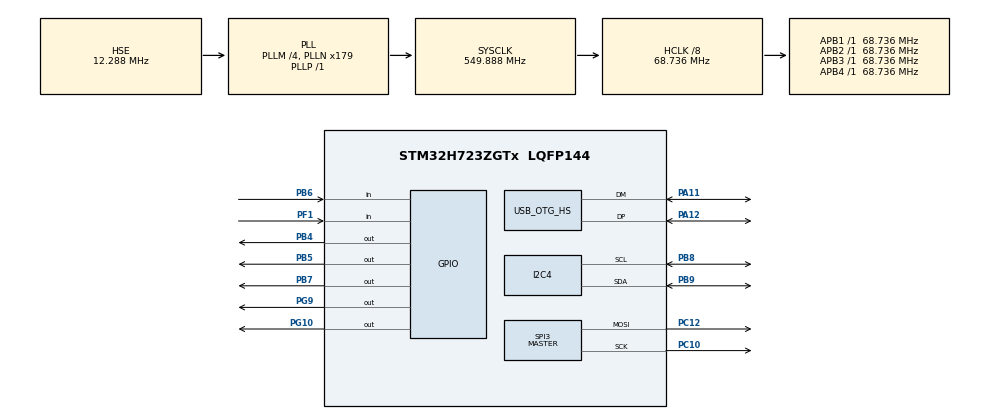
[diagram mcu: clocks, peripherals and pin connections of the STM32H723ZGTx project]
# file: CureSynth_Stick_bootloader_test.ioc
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CORTEX_M7.CPU_DCache=Enabled
CORTEX_M7.CPU_ICache=Enabled
Dma.Request0=SPI3_TX
Dma.SPI3_TX.0.Direction=DMA_MEMORY_TO_PERIPH
Dma.SPI3_TX.0.EventEnable=DISABLE
Dma.SPI3_TX.0.FIFOMode=DMA_FIFOMODE_ENABLE
Dma.SPI3_TX.0.FIFOThreshold=DMA_FIFO_THRESHOLD_FULL
Dma.SPI3_TX.0.Instance=DMA1_Stream5
Dma.SPI3_TX.0.MemBurst=DMA_MBURST_SINGLE
Dma.SPI3_TX.0.MemDataAlignment=DMA_MDATAALIGN_HALFWORD
Dma.SPI3_TX.0.MemInc=DMA_MINC_ENABLE
Dma.SPI3_TX.0.Mode=DMA_NORMAL
Dma.SPI3_TX.0.PeriphBurst=DMA_PBURST_SINGLE
Dma.SPI3_TX.0.PeriphDataAlignment=DMA_PDATAALIGN_HALFWORD
Dma.SPI3_TX.0.PeriphInc=DMA_PINC_DISABLE
Dma.SPI3_TX.0.Polarity=HAL_DMAMUX_REQ_GEN_RISING
Dma.SPI3_TX.0.Priority=DMA_PRIORITY_LOW
Dma.SPI3_TX.0.RequestNumber=1
Dma.SPI3_TX.0.SignalID=NONE
Dma.SPI3_TX.0.SyncEnable=DISABLE
Dma.SPI3_TX.0.SyncPolarity=HAL_DMAMUX_SYNC_NO_EVENT
Dma.SPI3_TX.0.SyncRequestNumber=1
Dma.SPI3_TX.0.SyncSignalID=NONE
I2C4.Speed=80
I2C4.Timing=0x1080A7FF
Mcu.Family=STM32H7
Mcu.Name=STM32H723ZGTx
Mcu.Package=LQFP144
NVIC.DMA1_Stream5_IRQn=true\:0\:1\:false\:false\:true\:false\:true\:true
NVIC.OTG_HS_IRQn=true\:0\:0\:false\:false\:true\:false\:true\:true
NVIC.PriorityGroup=NVIC_PRIORITYGROUP_2
NVIC.SPI3_IRQn=true\:0\:0\:false\:false\:true\:true\:true\:true
NVIC.TIM6_DAC_IRQn=true\:0\:0\:false\:false\:true\:true\:true\:true
NVIC.TIM7_IRQn=true\:0\:0\:false\:false\:true\:true\:true\:true
PA11.Mode=Device_Only_FS
PA11.Signal=USB_OTG_HS_DM
PA12.Mode=Device_Only_FS
PA12.Signal=USB_OTG_HS_DP
PA13(JTMS/SWDIO).Mode=Trace_Asynchronous_SW
PA13(JTMS/SWDIO).Signal=DEBUG_JTMS-SWDIO
PA14(JTCK/SWCLK).Mode=Trace_Asynchronous_SW
PA14(JTCK/SWCLK).Signal=DEBUG_JTCK-SWCLK
PA2.Signal=ADCx_INP14
PB3(JTDO/TRACESWO).Mode=Trace_Asynchronous_SW
PB3(JTDO/TRACESWO).Signal=DEBUG_JTDO-SWO
PB4(NJTRST).GPIO_PuPd=GPIO_PULLDOWN
PB4(NJTRST).Signal=GPIO_Output
PB5.Signal=GPIO_Output
PB6.Signal=GPIO_Input
PB7.Signal=GPIO_Output
PB8.GPIO_Pu=GPIO_PULLUP
PB8.GPIO_PuPd=GPIO_PULLUP
PB8.GPIO_Speed=GPIO_SPEED_FREQ_MEDIUM
PB8.Mode=I2C
PB8.Signal=I2C4_SCL
PB9.GPIO_Pu=GPIO_PULLUP
PB9.GPIO_PuPd=GPIO_PULLUP
PB9.GPIO_Speed=GPIO_SPEED_FREQ_MEDIUM
PB9.Mode=I2C
PB9.Signal=I2C4_SDA
PC10.GPIO_PuPd=GPIO_PULLDOWN
PC10.GPIO_Speed=GPIO_SPEED_FREQ_VERY_HIGH
PC10.Mode=TX_Only_Simplex_Unidirect_Master
PC10.Signal=SPI3_SCK
PC12.GPIO_PuPd=GPIO_PULLDOWN
PC12.GPIO_Speed=GPIO_SPEED_FREQ_VERY_HIGH
PC12.Mode=TX_Only_Simplex_Unidirect_Master
PC12.Signal=SPI3_MOSI
PF1.Signal=GPIO_Input
PF14.Signal=ADC2_INP6
PG10.Signal=GPIO_Output
PG11.Signal=USART10_RX
PG12.Signal=USART10_TX
PG9.Signal=GPIO_Output
PH0-OSC_IN.Mode=HSE-External-Clock-Source
PH0-OSC_IN.Signal=RCC_OSC_IN
ProjectManager.HeapSize=0x800
ProjectManager.StackSize=0x800
ProjectManager.TargetToolchain=STM32CubeIDE
RCC.ADCFreq_Value=49152000
RCC.APB1Freq_Value=68736000
RCC.APB2Freq_Value=68736000
RCC.APB3Freq_Value=68736000
RCC.APB4Freq_Value=68736000
RCC.CortexFreq_Value=274944000
RCC.D1CPRE=RCC_SYSCLK_DIV2
RCC.DIVM1=4
RCC.DIVM2=8
RCC.DIVM3=4
RCC.DIVN1=179
RCC.DIVN2=128
RCC.DIVN3=125
RCC.DIVP1=1
RCC.DIVP2=4
RCC.DIVQ1=7
RCC.DIVQ3=8
RCC.HCLKFreq_Value=68736000
RCC.HPRE=RCC_HCLK_DIV4
RCC.HSE_VALUE=12288000
RCC.PLLFRACN=0
RCC.PLLSourceVirtual=RCC_PLLSOURCE_HSE
RCC.RNGCLockSelection=RCC_RNGCLKSOURCE_PLL
RCC.SAI1CLockSelection=RCC_SAI1CLKSOURCE_PLL2
RCC.SYSCLKFreq_VALUE=549888000
RCC.SYSCLKSource=RCC_SYSCLKSOURCE_PLLCLK
RCC.USART16CLockSelection=RCC_USART16910CLKSOURCE_PLL3
RCC.USBCLockSelection=RCC_USBCLKSOURCE_PLL3
RCC.USBFreq_Value=48000000
RCC.VDD_VALUE=1.8
SH.ADCx_INP14.0=ADC1_INP14
SPI3.BaudRatePrescaler=SPI_BAUDRATEPRESCALER_2
SPI3.CalculateBaudRate=39.277714 MBits/s
SPI3.DataSize=SPI_DATASIZE_16BIT
SPI3.Direction=SPI_DIRECTION_2LINES_TXONLY
SPI3.Mode=SPI_MODE_MASTER
SPI3.VirtualType=VM_MASTER
TIM6.Period=12424
TIM6.Prescaler=511
TIM7.Period=15
TIM7.Prescaler=178
USB_DEVICE.CLASS_NAME_HS=DFU
USB_DEVICE.MANUFACTURER_STRING=curesynth.net
USB_DEVICE.PID_DFU_HS=0x42eb
USB_DEVICE.PRODUCT_STRING_DFU_HS=CureSynth Firmware Update Mode
USB_DEVICE.USBD_DFU_APP_DEFAULT_ADD=0x08020000
USB_DEVICE.USBD_DFU_MEDIA=@Internal Flash   /0x08000000/01*0128Ka,01*0128Kg,01*0128Kg,01*0128Kg,01*0128Kg,01*0128Kg,01*0128Kg,01*0128Kg
USB_DEVICE.USBD_DFU_XFER_SIZE=4096
USB_DEVICE.VID=0x20a0
USB_DEVICE.VirtualMode=Dfu
USB_DEVICE.VirtualModeHS=Dfu_HS
USB_OTG_HS.Sof_enable-Device_Only_FS=DISABLE
USB_OTG_HS.VirtualMode-Device_Only_FS=Device_Only_FS
VP_TIM6_VS_ClockSourceINT.Mode=Enable_Timer
VP_TIM7_VS_ClockSourceINT.Mode=Enable_Timer
VP_USB_DEVICE_VS_USB_DEVICE_DFU_HS.Mode=DFU_HS
board=custom

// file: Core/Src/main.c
/* USER CODE BEGIN Header */
/**
  ******************************************************************************
  * @file           : main.c
  * @brief          : Main program body
  ******************************************************************************
  * @attention
  *
  * <h2><center>&copy; Copyright (c) 2022 STMicroelectronics.
  * All rights reserved.</center></h2>
  *
  * This software component is licensed by ST under Ultimate Liberty license
  * SLA0044, the "License"; You may not use this file except in compliance with
  * the License. You may obtain a copy of the License at:
  *                             www.st.com/SLA0044
  *
  ******************************************************************************
  */
/* USER CODE END Header */
#include "main.h"

/* USER CODE BEGIN Includes */
#include "usb_device.h"
#include <stdbool.h>
#include <stdint.h>
#include <stdio.h>
#include <string.h>

#include "usbd_dfu_if.h"

//display
#include "st7735s_SPI.h"
#include "ugui.h"
#include "img.h"

//audio
#include "wm8960.h"

/* USER CODE END Includes */

/* USER CODE BEGIN PD */
#define FW_APP_ADDR (0x08020400)
#define FW_VER_STRING_ADDR (0x08020000)
#define FW_SIZE_ADDR (0x08020010)
#define FW_CHKSUM_ADDR (0x08020014)

#define BOOTLOADER_VER_STRING "0.2.1.b"

/* USER CODE END PD */

I2C_HandleTypeDef hi2c4;

SPI_HandleTypeDef hspi3;
DMA_HandleTypeDef hdma_spi3_tx;

TIM_HandleTypeDef htim6;
TIM_HandleTypeDef htim7;

/* USER CODE BEGIN PV */

//for uGUI
UG_GUI gui;
char ug_str_buf[32];

//versions
#define CURESYNTH_VER_STRINGTH_MAX (11)
char curesynth_ver[CURESYNTH_VER_STRINGTH_MAX] = {'\0'};

//display state
bool is_timer_countup = false;
typedef enum{
	DRAW_A, DRAW_B
}DispDrawState;
DispDrawState dispdrawstate = DRAW_A;

//usb
extern USBD_HandleTypeDef hUsbDeviceHS;

/* USER CODE END PV */

void SystemClock_Config(void);
static void MX_GPIO_Init(void);
static void MX_DMA_Init(void);
static void MX_SPI3_Init(void);
static void MX_TIM6_Init(void);
static void MX_TIM7_Init(void);
static void MX_I2C4_Init(void);

/* USER CODE BEGIN 0 */

//type 0-1
void cureImageDraw(uint8_t type)
{
	if(0 == type){
		//draw nyan
		for(uint32_t idx_y = 0; idx_y<IMG_NYAN_HEIGHT; idx_y++){
			for(uint32_t idx_x = 0; idx_x<IMG_NYAN_WIDTH; idx_x++){
				UG_DrawPixel(58+idx_x, 62+idx_y, nyan_1[idx_y][idx_x]);
			}
		}

		//draw tail
		for(uint32_t idx_y = 0; idx_y<IMG_TAIL_HEIGHT; idx_y++){
			for(uint32_t idx_x = 0; idx_x<IMG_TAIL_WIDTH; idx_x++){
				UG_DrawPixel(27+idx_x, 63+idx_y, tail_1[idx_y][idx_x]);
			}
		}

		//draw layout
		for(uint32_t idx_y = 0; idx_y<IMG_LAYOUT_HEIGHT; idx_y++){
			for(uint32_t idx_x = 0; idx_x<IMG_LAYOUT_WIDTH; idx_x++){
				if(0x0f == layout_1[idx_y][idx_x]){
					UG_DrawPixel(idx_x, idx_y, C_WHITE);
				}
			}
		}

		//draw bubble
		for(uint32_t idx_y = 0; idx_y<IMG_BUBBLE_HEIGHT; idx_y++){
			for(uint32_t idx_x = 0; idx_x<IMG_BUBBLE_WIDTH; idx_x++){
				if(0x0f == bubble_1[idx_y][idx_x]){
					UG_DrawPixel(108+idx_x, 60+idx_y, C_WHITE);
				}
			}
		}

	}else{

		//draw nyan
		for(uint32_t idx_y = 0; idx_y<IMG_NYAN_HEIGHT; idx_y++){
			for(uint32_t idx_x = 0; idx_x<IMG_NYAN_WIDTH; idx_x++){
				UG_DrawPixel(58+idx_x, 62+idx_y, nyan_2[idx_y][idx_x]);
			}
		}

		//draw tail
		for(uint32_t idx_y = 0; idx_y<IMG_TAIL_HEIGHT; idx_y++){
			for(uint32_t idx_x = 0; idx_x<IMG_TAIL_WIDTH; idx_x++){
				UG_DrawPixel(27+idx_x, 63+idx_y, tail_2[idx_y][idx_x]);
			}
		}

		//draw layout
		for(uint32_t idx_y = 0; idx_y<IMG_LAYOUT_HEIGHT; idx_y++){
			for(uint32_t idx_x = 0; idx_x<IMG_LAYOUT_WIDTH; idx_x++){
				if(0x0f == layout_2[idx_y][idx_x]){
					UG_DrawPixel(idx_x, idx_y, C_WHITE);
				}
			}
		}

		//draw bubble
		for(uint32_t idx_y = 0; idx_y<IMG_BUBBLE_HEIGHT; idx_y++){
			for(uint32_t idx_x = 0; idx_x<IMG_BUBBLE_WIDTH; idx_x++){
				if(0x0f == bubble_2[idx_y][idx_x]){
					UG_DrawPixel(108+idx_x, 60+idx_y, C_WHITE);
				}
			}
		}

	}
}

void HAL_TIM_PeriodElapsedCallback(TIM_HandleTypeDef *htim)
{
	if(htim->Instance == TIM6)	//1s timer
	{
		static uint32_t timer_pll_counter = 0;

		if(timer_pll_counter>=10){
			timer_pll_counter = 0;
			is_timer_countup = true;
		}else{
			timer_pll_counter++;
		}

	}
}

void HAL_SPI_TxCpltCallback(SPI_HandleTypeDef *hspi){

	if(hspi->Instance == SPI3)
	{
		displaySemaphoreClear();
	}
}

typedef void (*pFunction)(void);
volatile uint32_t JumpAddress;
volatile pFunction Jump_To_Application;

void jumpUserApp()
{

	JumpAddress = *(uint32_t *) (FW_APP_ADDR + 4);
	Jump_To_Application = (pFunction) JumpAddress;
	HAL_RCC_DeInit();
	HAL_DeInit();
	SysTick->CTRL = 0;
	SysTick->LOAD = 0;
	SysTick->VAL = 0;
	__set_MSP(*(uint32_t*)FW_APP_ADDR);
	Jump_To_Application();

}

void pset(UG_S16 x, UG_S16 y, UG_COLOR col)
{
	//1dot to 2x2
	displayDrawDot16b(x*2, y*2, col);
	displayDrawDot16b(x*2+1, y*2, col);
	displayDrawDot16b(x*2, y*2+1, col);
	displayDrawDot16b(x*2+1, y*2+1, col);
}

void checkCuresynthVersion()
{
    volatile bool is_curesynth_ver_ok = false;
  	for(uint32_t i=0; i<CURESYNTH_VER_STRINGTH_MAX; i++){
  		if('\0' == ((char *)((uint32_t *)FW_VER_STRING_ADDR))[i]){
  			is_curesynth_ver_ok = true;
  			break;
  		}
  	}
  	if(is_curesynth_ver_ok){
  	    strcpy(curesynth_ver, (char *)((uint32_t *)FW_VER_STRING_ADDR));
  	}else{
  	    sprintf(curesynth_ver, "Error");
  	}
}

void MPU_Config_WriteThrough()
{
	  MPU_Region_InitTypeDef MPU_InitStruct;

	  /* Disable the MPU */
	  HAL_MPU_Disable();

	  //RAM_D2 32KiB
	  /* Configure the MPU attributes as WT for SRAM */
	  MPU_InitStruct.Enable = MPU_REGION_ENABLE;
	  MPU_InitStruct.BaseAddress = 0x30000000;
	  MPU_InitStruct.Size = MPU_REGION_SIZE_32KB;
	  MPU_InitStruct.AccessPermission = MPU_REGION_FULL_ACCESS;
	  MPU_InitStruct.IsBufferable = MPU_ACCESS_NOT_BUFFERABLE;
	  MPU_InitStruct.IsCacheable = MPU_ACCESS_CACHEABLE;
	  MPU_InitStruct.IsShareable = MPU_ACCESS_SHAREABLE;
	  MPU_InitStruct.Number = MPU_REGION_NUMBER0;
	  MPU_InitStruct.TypeExtField = MPU_TEX_LEVEL0;
	  MPU_InitStruct.SubRegionDisable = 0x00;
	  MPU_InitStruct.DisableExec = MPU_INSTRUCTION_ACCESS_ENABLE;

	  HAL_MPU_ConfigRegion(&MPU_InitStruct);

	  //RAM_D1_VRAM1 64Kib
	  /* Configure the MPU attributes as WT for SRAM */
	  MPU_InitStruct.Enable = MPU_REGION_ENABLE;
	  MPU_InitStruct.BaseAddress = 0x24000000;
	  MPU_InitStruct.Size = MPU_REGION_SIZE_64KB;
	  MPU_InitStruct.AccessPermission = MPU_REGION_FULL_ACCESS;
	  MPU_InitStruct.IsBufferable = MPU_ACCESS_NOT_BUFFERABLE;
	  MPU_InitStruct.IsCacheable = MPU_ACCESS_CACHEABLE;
	  MPU_InitStruct.IsShareable = MPU_ACCESS_NOT_SHAREABLE;
	  MPU_InitStruct.Number = MPU_REGION_NUMBER1;
	  MPU_InitStruct.TypeExtField = MPU_TEX_LEVEL0;
	  MPU_InitStruct.SubRegionDisable = 0x00;
	  MPU_InitStruct.DisableExec = MPU_INSTRUCTION_ACCESS_ENABLE;

	  HAL_MPU_ConfigRegion(&MPU_InitStruct);

	  //RAM_D1_VRAM1 16Kib
	  /* Configure the MPU attributes as WT for SRAM */
	  MPU_InitStruct.Enable = MPU_REGION_ENABLE;
	  MPU_InitStruct.BaseAddress = 0x24010000;
	  MPU_InitStruct.Size = MPU_REGION_SIZE_16KB;
	  MPU_InitStruct.AccessPermission = MPU_REGION_FULL_ACCESS;
	  MPU_InitStruct.IsBufferable = MPU_ACCESS_NOT_BUFFERABLE;
	  MPU_InitStruct.IsCacheable = MPU_ACCESS_CACHEABLE;
	  MPU_InitStruct.IsShareable = MPU_ACCESS_NOT_SHAREABLE;
	  MPU_InitStruct.Number = MPU_REGION_NUMBER2;
	  MPU_InitStruct.TypeExtField = MPU_TEX_LEVEL0;
	  MPU_InitStruct.SubRegionDisable = 0x00;
	  MPU_InitStruct.DisableExec = MPU_INSTRUCTION_ACCESS_ENABLE;

	  HAL_MPU_ConfigRegion(&MPU_InitStruct);

	  //RAM_D1_VRAM1 4Kib
	  /* Configure the MPU attributes as WT for SRAM */
	  MPU_InitStruct.Enable = MPU_REGION_ENABLE;
	  MPU_InitStruct.BaseAddress = 0x24014000;
	  MPU_InitStruct.Size = MPU_REGION_SIZE_4KB;
	  MPU_InitStruct.AccessPermission = MPU_REGION_FULL_ACCESS;
	  MPU_InitStruct.IsBufferable = MPU_ACCESS_NOT_BUFFERABLE;
	  MPU_InitStruct.IsCacheable = MPU_ACCESS_CACHEABLE;
	  MPU_InitStruct.IsShareable = MPU_ACCESS_NOT_SHAREABLE;
	  MPU_InitStruct.Number = MPU_REGION_NUMBER3;
	  MPU_InitStruct.TypeExtField = MPU_TEX_LEVEL0;
	  MPU_InitStruct.SubRegionDisable = 0x00;
	  MPU_InitStruct.DisableExec = MPU_INSTRUCTION_ACCESS_ENABLE;

	  HAL_MPU_ConfigRegion(&MPU_InitStruct);

	  /* Enable the MPU */
	  HAL_MPU_Enable(MPU_PRIVILEGED_DEFAULT);
}

/* USER CODE END 0 */

int main(void)
{

  /* Enable I-Cache---------------------------------------------------------*/
  SCB_EnableICache();

  /* Enable D-Cache---------------------------------------------------------*/
  SCB_EnableDCache();

  /* MCU Configuration--------------------------------------------------------*/

  /* Reset of all peripherals, Initializes the Flash interface and the Systick. */
  HAL_Init();

  /* USER CODE BEGIN Init */

  MX_GPIO_Init();
  //bootloader judge
  bool boot_mode_is_active = false;
  for(uint32_t i=0; i<5; i++){
  	if(	GPIO_PIN_SET == HAL_GPIO_ReadPin(GPIOF, GPIO_PIN_1) )
  	{
  		boot_mode_is_active |= true;
  	}
  	HAL_Delay(20);
  }
  if(!boot_mode_is_active){
	  jumpUserApp();
  }

  MPU_Config_WriteThrough();

  /* USER CODE END Init */

  /* Configure the system clock */
  SystemClock_Config();

  /* Initialize all configured peripherals */
  MX_DMA_Init();
  MX_SPI3_Init();
  MX_TIM6_Init();
  MX_TIM7_Init();
  MX_I2C4_Init();
  /* USER CODE BEGIN 2 */

  	//check and copy curesynth version
    checkCuresynthVersion();

	//Display Initialization
	displayInit();

	//Init ugui
	UG_Init(&gui, pset, VRAM_X_SIZE/2, VRAM_Y_SIZE/2);
	UG_SetBackcolor(COL_BACKGROUND_565);
	UG_SetForecolor(COL_FOREGROUND_565);
	UG_FillScreen(COL_BACKGROUND_565);
	UG_FontSelect(&FONT_7X12);

	displayUpdate();
	displayWaitDispalyTransfer();

	//Backlight on
	dispBacklightOn();

	//turn on Analog 3.3V Power
	HAL_GPIO_WritePin(GPIOB, GPIO_PIN_7, GPIO_PIN_SET);

	MX_USB_DEVICE_Init();

	//audio
	wmInit();

	//start 1s timer
	HAL_TIM_Base_Start_IT(&htim6);

  /* USER CODE END 2 */

  /* Infinite loop */
  while (1)
  {

    /* USER CODE BEGIN 3 */

	  if(is_timer_countup){
		  is_timer_countup = false;

		  UG_FillScreen(COL_BACKGROUND_565);

		  switch(dispdrawstate){
			  case DRAW_A:

				  UG_FontSelect(&FONT_6X8);
				  cureImageDraw(0);
				  UG_SetForecolor(C_CYAN);
				  sprintf(ug_str_buf, "BOOT: %s", BOOTLOADER_VER_STRING);
				  UG_PutString(28,  12,  ug_str_buf);
				  sprintf(ug_str_buf, " APP: %s", curesynth_ver);
				  UG_PutString(28,  24,  ug_str_buf);
				  UG_SetForecolor(COL_FOREGROUND_565);
				  UG_FontSelect(&FONT_7X12);

				  if(is_error_occurred){
					  sprintf(ug_str_buf, "Write ERROR!!");
					  UG_PutString(16,  38,  ug_str_buf);
				  }else{
					  switch(dispstate){
					  case DFUDISP_INIT:
					  case DFUDISP_READ:
					  case DFUDISP_UNLOCK:
					  case DFUDISP_LOCK:
						  sprintf(ug_str_buf, "FW Update Mode");
						  UG_PutString(16,  38,  ug_str_buf);
						  checkCuresynthVersion();
						  break;
					  case DFUDISP_WRITE:
						  sprintf(ug_str_buf, "Writting");
						  UG_PutString(30,  38,  ug_str_buf);
						  break;
						  break;
					  case DFUDISP_ERASE:
						  sprintf(ug_str_buf, "Erasing");
						  UG_PutString(30,  38,  ug_str_buf);
						  break;
						  break;
					  default:
						  break;

					  }
				  }

				  dispdrawstate = DRAW_B;
				  break;

			  case DRAW_B:

				  UG_FontSelect(&FONT_6X8);
				  cureImageDraw(1);
				  UG_SetForecolor(C_CYAN);
				  sprintf(ug_str_buf, "BOOT: %s", BOOTLOADER_VER_STRING);
				  UG_PutString(28,  12,  ug_str_buf);
				  sprintf(ug_str_buf, " APP: %s", curesynth_ver);
				  UG_PutString(28,  24,  ug_str_buf);
				  UG_SetForecolor(COL_FOREGROUND_565);
				  UG_FontSelect(&FONT_7X12);

				  if(is_error_occurred){
					  sprintf(ug_str_buf, "Write ERROR!!");
					  UG_PutString(16,  38,  ug_str_buf);
				  }else{
					  switch(dispstate){
					  case DFUDISP_INIT:
					  case DFUDISP_READ:
					  case DFUDISP_UNLOCK:
					  case DFUDISP_LOCK:
						  sprintf(ug_str_buf, "FW Update Mode");
						  UG_PutString(16,  38,  ug_str_buf);
						  break;
					  case DFUDISP_WRITE:
						  sprintf(ug_str_buf, "Writting...");
						  UG_PutString(30,  38,  ug_str_buf);
						  break;
					  case DFUDISP_ERASE:
						  sprintf(ug_str_buf, "Erasing...");
						  UG_PutString(30,  38,  ug_str_buf);
						  break;
					  default:
						  break;

					  }
				  }
				  dispdrawstate = DRAW_A;

				  break;

			  default:
				  break;
		  }
		  displayUpdate();
	  }

	  //usb enumeration
	  if(USBD_STATE_CONFIGURED != hUsbDeviceHS.dev_state){
		  checkCuresynthVersion();
	  }

	  //err
	  if(is_error_occurred){
		  MX_USB_DEVICE_Stop();
	  }

  }
  /* USER CODE END 3 */
}

void SystemClock_Config(void)
{
  RCC_OscInitTypeDef RCC_OscInitStruct = {0};
  RCC_ClkInitTypeDef RCC_ClkInitStruct = {0};

  /** Supply configuration update enable
  */
  HAL_PWREx_ConfigSupply(PWR_LDO_SUPPLY);

  /** Configure the main internal regulator output voltage
  */
  __HAL_PWR_VOLTAGESCALING_CONFIG(PWR_REGULATOR_VOLTAGE_SCALE2);

  while(!__HAL_PWR_GET_FLAG(PWR_FLAG_VOSRDY)) {}

  /** Macro to configure the PLL clock source
  */
  __HAL_RCC_PLL_PLLSOURCE_CONFIG(RCC_PLLSOURCE_HSE);

  /** Initializes the RCC Oscillators according to the specified parameters
  * in the RCC_OscInitTypeDef structure.
  */
  RCC_OscInitStruct.OscillatorType = RCC_OSCILLATORTYPE_HSE;
  RCC_OscInitStruct.HSEState = RCC_HSE_BYPASS;
  RCC_OscInitStruct.PLL.PLLState = RCC_PLL_ON;
  RCC_OscInitStruct.PLL.PLLSource = RCC_PLLSOURCE_HSE;
  RCC_OscInitStruct.PLL.PLLM = 4;
  RCC_OscInitStruct.PLL.PLLN = 179;
  RCC_OscInitStruct.PLL.PLLP = 1;
  RCC_OscInitStruct.PLL.PLLQ = 7;
  RCC_OscInitStruct.PLL.PLLR = 2;
  RCC_OscInitStruct.PLL.PLLRGE = RCC_PLL1VCIRANGE_1;
  RCC_OscInitStruct.PLL.PLLVCOSEL = RCC_PLL1VCOWIDE;
  RCC_OscInitStruct.PLL.PLLFRACN = 0;
  if (HAL_RCC_OscConfig(&RCC_OscInitStruct) != HAL_OK)
  {
    Error_Handler();
  }

  /** Initializes the CPU, AHB and APB buses clocks
  */
  RCC_ClkInitStruct.ClockType = RCC_CLOCKTYPE_HCLK|RCC_CLOCKTYPE_SYSCLK
                              |RCC_CLOCKTYPE_PCLK1|RCC_CLOCKTYPE_PCLK2
                              |RCC_CLOCKTYPE_D3PCLK1|RCC_CLOCKTYPE_D1PCLK1;
  RCC_ClkInitStruct.SYSCLKSource = RCC_SYSCLKSOURCE_PLLCLK;
  RCC_ClkInitStruct.SYSCLKDivider = RCC_SYSCLK_DIV2;
  RCC_ClkInitStruct.AHBCLKDivider = RCC_HCLK_DIV4;
  RCC_ClkInitStruct.APB3CLKDivider = RCC_APB3_DIV1;
  RCC_ClkInitStruct.APB1CLKDivider = RCC_APB1_DIV1;
  RCC_ClkInitStruct.APB2CLKDivider = RCC_APB2_DIV1;
  RCC_ClkInitStruct.APB4CLKDivider = RCC_APB4_DIV1;

  if (HAL_RCC_ClockConfig(&RCC_ClkInitStruct, FLASH_LATENCY_1) != HAL_OK)
  {
    Error_Handler();
  }
}

static void MX_I2C4_Init(void)
{

  hi2c4.Instance = I2C4;
  hi2c4.Init.Timing = 0x1080A7FF;
  hi2c4.Init.OwnAddress1 = 0;
  hi2c4.Init.AddressingMode = I2C_ADDRESSINGMODE_7BIT;
  hi2c4.Init.DualAddressMode = I2C_DUALADDRESS_DISABLE;
  hi2c4.Init.OwnAddress2 = 0;
  hi2c4.Init.OwnAddress2Masks = I2C_OA2_NOMASK;
  hi2c4.Init.GeneralCallMode = I2C_GENERALCALL_DISABLE;
  hi2c4.Init.NoStretchMode = I2C_NOSTRETCH_DISABLE;
  if (HAL_I2C_Init(&hi2c4) != HAL_OK)
  {
    Error_Handler();
  }

  /** Configure Analogue filter
  */
  if (HAL_I2CEx_ConfigAnalogFilter(&hi2c4, I2C_ANALOGFILTER_ENABLE) != HAL_OK)
  {
    Error_Handler();
  }

  /** Configure Digital filter
  */
  if (HAL_I2CEx_ConfigDigitalFilter(&hi2c4, 0) != HAL_OK)
  {
    Error_Handler();
  }

}

static void MX_SPI3_Init(void)
{

  /* SPI3 parameter configuration*/
  hspi3.Instance = SPI3;
  hspi3.Init.Mode = SPI_MODE_MASTER;
  hspi3.Init.Direction = SPI_DIRECTION_2LINES_TXONLY;
  hspi3.Init.DataSize = SPI_DATASIZE_16BIT;
  hspi3.Init.CLKPolarity = SPI_POLARITY_LOW;
  hspi3.Init.CLKPhase = SPI_PHASE_1EDGE;
  hspi3.Init.NSS = SPI_NSS_SOFT;
  hspi3.Init.BaudRatePrescaler = SPI_BAUDRATEPRESCALER_2;
  hspi3.Init.FirstBit = SPI_FIRSTBIT_MSB;
  hspi3.Init.TIMode = SPI_TIMODE_DISABLE;
  hspi3.Init.CRCCalculation = SPI_CRCCALCULATION_DISABLE;
  hspi3.Init.CRCPolynomial = 0x0;
  hspi3.Init.NSSPMode = SPI_NSS_PULSE_ENABLE;
  hspi3.Init.NSSPolarity = SPI_NSS_POLARITY_LOW;
  hspi3.Init.FifoThreshold = SPI_FIFO_THRESHOLD_01DATA;
  hspi3.Init.TxCRCInitializationPattern = SPI_CRC_INITIALIZATION_ALL_ZERO_PATTERN;
  hspi3.Init.RxCRCInitializationPattern = SPI_CRC_INITIALIZATION_ALL_ZERO_PATTERN;
  hspi3.Init.MasterSSIdleness = SPI_MASTER_SS_IDLENESS_00CYCLE;
  hspi3.Init.MasterInterDataIdleness = SPI_MASTER_INTERDATA_IDLENESS_00CYCLE;
  hspi3.Init.MasterReceiverAutoSusp = SPI_MASTER_RX_AUTOSUSP_DISABLE;
  hspi3.Init.MasterKeepIOState = SPI_MASTER_KEEP_IO_STATE_DISABLE;
  hspi3.Init.IOSwap = SPI_IO_SWAP_DISABLE;
  if (HAL_SPI_Init(&hspi3) != HAL_OK)
  {
    Error_Handler();
  }

}

static void MX_TIM6_Init(void)
{

  TIM_MasterConfigTypeDef sMasterConfig = {0};

  htim6.Instance = TIM6;
  htim6.Init.Prescaler = 511;
  htim6.Init.CounterMode = TIM_COUNTERMODE_UP;
  htim6.Init.Period = 12424;
  htim6.Init.AutoReloadPreload = TIM_AUTORELOAD_PRELOAD_DISABLE;
  if (HAL_TIM_Base_Init(&htim6) != HAL_OK)
  {
    Error_Handler();
  }
  sMasterConfig.MasterOutputTrigger = TIM_TRGO_RESET;
  sMasterConfig.MasterSlaveMode = TIM_MASTERSLAVEMODE_DISABLE;
  if (HAL_TIMEx_MasterConfigSynchronization(&htim6, &sMasterConfig) != HAL_OK)
  {
    Error_Handler();
  }

}

static void MX_TIM7_Init(void)
{

  TIM_MasterConfigTypeDef sMasterConfig = {0};

  htim7.Instance = TIM7;
  htim7.Init.Prescaler = 178;
  htim7.Init.CounterMode = TIM_COUNTERMODE_UP;
  htim7.Init.Period = 15;
  htim7.Init.AutoReloadPreload = TIM_AUTORELOAD_PRELOAD_DISABLE;
  if (HAL_TIM_Base_Init(&htim7) != HAL_OK)
  {
    Error_Handler();
  }
  sMasterConfig.MasterOutputTrigger = TIM_TRGO_RESET;
  sMasterConfig.MasterSlaveMode = TIM_MASTERSLAVEMODE_DISABLE;
  if (HAL_TIMEx_MasterConfigSynchronization(&htim7, &sMasterConfig) != HAL_OK)
  {
    Error_Handler();
  }

}

static void MX_DMA_Init(void)
{

  /* DMA controller clock enable */
  __HAL_RCC_DMA1_CLK_ENABLE();

  /* DMA interrupt init */
  /* DMA1_Stream5_IRQn interrupt configuration */
  HAL_NVIC_SetPriority(DMA1_Stream5_IRQn, 0, 1);
  HAL_NVIC_EnableIRQ(DMA1_Stream5_IRQn);

}

static void MX_GPIO_Init(void)
{
  GPIO_InitTypeDef GPIO_InitStruct = {0};

  /* GPIO Ports Clock Enable */
  __HAL_RCC_GPIOF_CLK_ENABLE();
  __HAL_RCC_GPIOH_CLK_ENABLE();
  __HAL_RCC_GPIOA_CLK_ENABLE();
  __HAL_RCC_GPIOC_CLK_ENABLE();
  __HAL_RCC_GPIOG_CLK_ENABLE();
  __HAL_RCC_GPIOB_CLK_ENABLE();

  /*Configure GPIO pin Output Level */
  HAL_GPIO_WritePin(GPIOG, GPIO_PIN_9|GPIO_PIN_10, GPIO_PIN_RESET);

  /*Configure GPIO pin Output Level */
  HAL_GPIO_WritePin(GPIOB, GPIO_PIN_4|GPIO_PIN_5|GPIO_PIN_7, GPIO_PIN_RESET);

  /*Configure GPIO pin : PF1 */
  GPIO_InitStruct.Pin = GPIO_PIN_1;
  GPIO_InitStruct.Mode = GPIO_MODE_INPUT;
  GPIO_InitStruct.Pull = GPIO_NOPULL;
  HAL_GPIO_Init(GPIOF, &GPIO_InitStruct);

  /*Configure GPIO pin : PA2 */
  GPIO_InitStruct.Pin = GPIO_PIN_2;
  GPIO_InitStruct.Mode = GPIO_MODE_ANALOG;
  GPIO_InitStruct.Pull = GPIO_NOPULL;
  HAL_GPIO_Init(GPIOA, &GPIO_InitStruct);

  /*Configure GPIO pin : PF14 */
  GPIO_InitStruct.Pin = GPIO_PIN_14;
  GPIO_InitStruct.Mode = GPIO_MODE_ANALOG;
  GPIO_InitStruct.Pull = GPIO_NOPULL;
  HAL_GPIO_Init(GPIOF, &GPIO_InitStruct);

  /*Configure GPIO pins : PG9 PG10 */
  GPIO_InitStruct.Pin = GPIO_PIN_9|GPIO_PIN_10;
  GPIO_InitStruct.Mode = GPIO_MODE_OUTPUT_PP;
  GPIO_InitStruct.Pull = GPIO_NOPULL;
  GPIO_InitStruct.Speed = GPIO_SPEED_FREQ_LOW;
  HAL_GPIO_Init(GPIOG, &GPIO_InitStruct);

  /*Configure GPIO pins : PG11 PG12 */
  GPIO_InitStruct.Pin = GPIO_PIN_11|GPIO_PIN_12;
  GPIO_InitStruct.Mode = GPIO_MODE_AF_PP;
  GPIO_InitStruct.Pull = GPIO_NOPULL;
  GPIO_InitStruct.Speed = GPIO_SPEED_FREQ_LOW;
  GPIO_InitStruct.Alternate = GPIO_AF4_USART10;
  HAL_GPIO_Init(GPIOG, &GPIO_InitStruct);

  /*Configure GPIO pin : PB4 */
  GPIO_InitStruct.Pin = GPIO_PIN_4;
  GPIO_InitStruct.Mode = GPIO_MODE_OUTPUT_PP;
  GPIO_InitStruct.Pull = GPIO_PULLDOWN;
  GPIO_InitStruct.Speed = GPIO_SPEED_FREQ_LOW;
  HAL_GPIO_Init(GPIOB, &GPIO_InitStruct);

  /*Configure GPIO pins : PB5 PB7 */
  GPIO_InitStruct.Pin = GPIO_PIN_5|GPIO_PIN_7;
  GPIO_InitStruct.Mode = GPIO_MODE_OUTPUT_PP;
  GPIO_InitStruct.Pull = GPIO_NOPULL;
  GPIO_InitStruct.Speed = GPIO_SPEED_FREQ_LOW;
  HAL_GPIO_Init(GPIOB, &GPIO_InitStruct);

  /*Configure GPIO pin : PB6 */
  GPIO_InitStruct.Pin = GPIO_PIN_6;
  GPIO_InitStruct.Mode = GPIO_MODE_INPUT;
  GPIO_InitStruct.Pull = GPIO_NOPULL;
  HAL_GPIO_Init(GPIOB, &GPIO_InitStruct);

}

void Error_Handler(void)
{
  __disable_irq();
  while (1)
  {
  }
}
